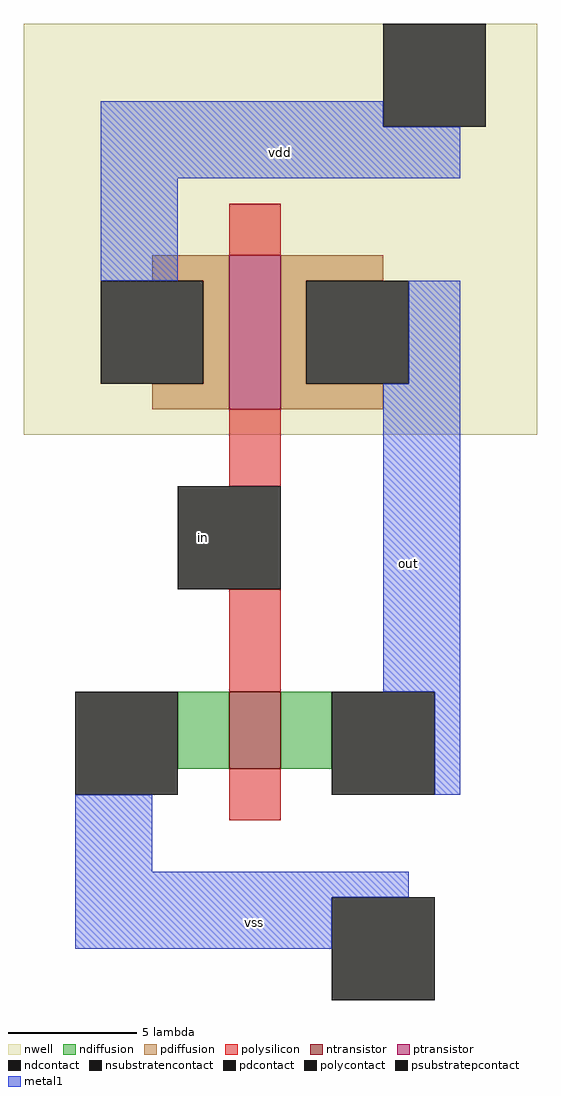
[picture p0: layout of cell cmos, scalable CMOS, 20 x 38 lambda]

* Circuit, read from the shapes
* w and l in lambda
.subckt cmos in out vdd vss
M1 out in vss vss nfet w=3 l=2
M2 out in vdd vdd pfet w=6 l=2
.ends

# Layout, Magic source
magic
tech scmos
<< nwell >>
rect 2 18 22 34
<< polysilicon >>
rect 10 25 12 27
rect 10 16 12 19
rect 10 8 12 12
rect 10 3 12 5
<< ndiffusion >>
rect 8 5 10 8
rect 12 5 14 8
<< pdiffusion >>
rect 7 24 10 25
rect 9 20 10 24
rect 7 19 10 20
rect 12 24 16 25
rect 12 20 13 24
rect 12 19 16 20
<< metal1 >>
rect 5 30 16 31
rect 5 28 19 30
rect 5 24 8 28
rect 17 20 19 24
rect 16 8 19 20
rect 18 4 19 8
rect 4 1 7 4
rect 4 0 17 1
rect 4 -2 14 0
<< ntransistor >>
rect 10 5 12 8
<< ptransistor >>
rect 10 19 12 25
<< polycontact >>
rect 8 12 12 16
<< ndcontact >>
rect 4 4 8 8
rect 14 4 18 8
<< pdcontact >>
rect 5 20 9 24
rect 13 20 17 24
<< psubstratepcontact >>
rect 14 -4 18 0
<< nsubstratencontact >>
rect 16 30 20 34
<< labels >>
rlabel metal1 12 29 12 29 1 vdd
rlabel metal1 11 -1 11 -1 1 vss
rlabel polycontact 9 14 9 14 3 in
rlabel metal1 17 13 17 13 3 out
<< end >>
